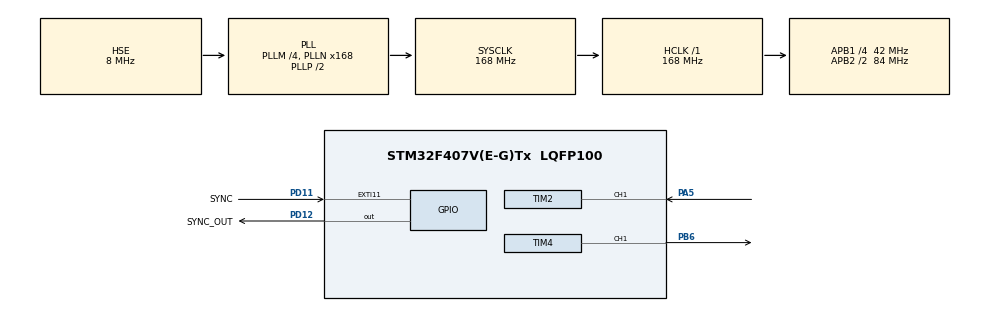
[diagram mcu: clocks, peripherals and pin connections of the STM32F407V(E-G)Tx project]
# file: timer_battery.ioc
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Mcu.Family=STM32F4
Mcu.Name=STM32F407V(E-G)Tx
Mcu.Package=LQFP100
NVIC.EXTI15_10_IRQn=true\:0\:0\:false\:false\:true\:true\:true\:true
NVIC.PriorityGroup=NVIC_PRIORITYGROUP_4
NVIC.TIM2_IRQn=true\:0\:0\:false\:false\:true\:true\:true\:true
NVIC.TIM3_IRQn=true\:0\:0\:false\:false\:true\:true\:true\:true
PA13.Mode=Trace_Asynchronous_SW
PA13.Signal=SYS_JTMS-SWDIO
PA14.Mode=Trace_Asynchronous_SW
PA14.Signal=SYS_JTCK-SWCLK
PA5.Signal=S_TIM2_CH1_ETR
PB3.Mode=Trace_Asynchronous_SW
PB3.Signal=SYS_JTDO-SWO
PB6.Signal=S_TIM4_CH1
PD11.GPIO_Label=SYNC
PD11.GPIO_ModeDefaultEXTI=GPIO_MODE_IT_RISING_FALLING
PD11.Signal=GPXTI11
PD12.GPIO_Label=SYNC_OUT
PD12.Signal=GPIO_Output
PH0-OSC_IN.Mode=HSE-External-Oscillator
PH0-OSC_IN.Signal=RCC_OSC_IN
PH1-OSC_OUT.Mode=HSE-External-Oscillator
PH1-OSC_OUT.Signal=RCC_OSC_OUT
ProjectManager.HeapSize=0x200
ProjectManager.StackSize=0x400
ProjectManager.TargetToolchain=STM32CubeIDE
RCC.48MHZClocksFreq_Value=84000000
RCC.AHBFreq_Value=168000000
RCC.APB1CLKDivider=RCC_HCLK_DIV4
RCC.APB1Freq_Value=42000000
RCC.APB1TimFreq_Value=84000000
RCC.APB2CLKDivider=RCC_HCLK_DIV2
RCC.APB2Freq_Value=84000000
RCC.APB2TimFreq_Value=168000000
RCC.CortexFreq_Value=168000000
RCC.HCLKFreq_Value=168000000
RCC.HSE_VALUE=8000000
RCC.HSI_VALUE=16000000
RCC.LSE_VALUE=32768
RCC.PLLM=4
RCC.PLLN=168
RCC.PLLSourceVirtual=RCC_PLLSOURCE_HSE
RCC.SYSCLKFreq_VALUE=168000000
RCC.SYSCLKSource=RCC_SYSCLKSOURCE_PLLCLK
RCC.VCOOutputFreq_Value=336000000
SH.S_TIM2_CH1_ETR.0=TIM2_CH1,Input_Capture1_from_TI1
SH.S_TIM4_CH1.0=TIM4_CH1,PWM Generation1 CH1
TIM2.Channel-Input_Capture1_from_TI1=TIM_CHANNEL_1
TIM2.Prescaler=83
TIM3.Period=999
TIM3.Prescaler=699
TIM4.Channel-PWM\ Generation1\ CH1=TIM_CHANNEL_1
TIM4.Period=20000-1
TIM4.Prescaler=83
TIM4.Pulse-PWM\ Generation1\ CH1=999
VP_TIM3_VS_ClockSourceINT.Mode=Internal
VP_TIM4_VS_ClockSourceINT.Mode=Internal
board=custom

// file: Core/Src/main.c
/* USER CODE BEGIN Header */
/**
  ******************************************************************************
  * @file           : main.c
  * @brief          : Main program body
  ******************************************************************************
  * @attention
  *
  * Copyright (c) 2025 STMicroelectronics.
  * All rights reserved.
  *
  * This software is licensed under terms that can be found in the LICENSE file
  * in the root directory of this software component.
  * If no LICENSE file comes with this software, it is provided AS-IS.
  *
  ******************************************************************************
  */
/* USER CODE END Header */
#include "main.h"
#include "tim.h"
#include "gpio.h"

void SystemClock_Config(void);

int main(void)
{

  /* MCU Configuration--------------------------------------------------------*/

  /* Reset of all peripherals, Initializes the Flash interface and the Systick. */
  HAL_Init();

  /* Configure the system clock */
  SystemClock_Config();

  /* Initialize all configured peripherals */
  MX_GPIO_Init();
  MX_TIM3_Init();
  MX_TIM2_Init();
  MX_TIM4_Init();
  /* USER CODE BEGIN 2 */
  HAL_TIM_Base_Start_IT(&htim3);

  HAL_TIM_IC_Start_IT(&htim2, TIM_CHANNEL_1);

  HAL_TIM_PWM_Start(&htim4, TIM_CHANNEL_1);

  __HAL_TIM_SET_COMPARE(&htim4, TIM_CHANNEL_1, 1499);

  /* USER CODE END 2 */

  /* Infinite loop */
  while (1)
  {

    /* USER CODE BEGIN 3 */
	  for(uint16_t duty = 1; duty < 20000; duty++){
		  __HAL_TIM_SET_COMPARE(&htim4, TIM_CHANNEL_1, duty);

		  HAL_Delay(1);
	  }
  }
  /* USER CODE END 3 */
}

void SystemClock_Config(void)
{
  RCC_OscInitTypeDef RCC_OscInitStruct = {0};
  RCC_ClkInitTypeDef RCC_ClkInitStruct = {0};

  /** Configure the main internal regulator output voltage
  */
  __HAL_RCC_PWR_CLK_ENABLE();
  __HAL_PWR_VOLTAGESCALING_CONFIG(PWR_REGULATOR_VOLTAGE_SCALE1);

  /** Initializes the RCC Oscillators according to the specified parameters
  * in the RCC_OscInitTypeDef structure.
  */
  RCC_OscInitStruct.OscillatorType = RCC_OSCILLATORTYPE_HSE;
  RCC_OscInitStruct.HSEState = RCC_HSE_ON;
  RCC_OscInitStruct.PLL.PLLState = RCC_PLL_ON;
  RCC_OscInitStruct.PLL.PLLSource = RCC_PLLSOURCE_HSE;
  RCC_OscInitStruct.PLL.PLLM = 4;
  RCC_OscInitStruct.PLL.PLLN = 168;
  RCC_OscInitStruct.PLL.PLLP = RCC_PLLP_DIV2;
  RCC_OscInitStruct.PLL.PLLQ = 4;
  if (HAL_RCC_OscConfig(&RCC_OscInitStruct) != HAL_OK)
  {
    Error_Handler();
  }

  /** Initializes the CPU, AHB and APB buses clocks
  */
  RCC_ClkInitStruct.ClockType = RCC_CLOCKTYPE_HCLK|RCC_CLOCKTYPE_SYSCLK
                              |RCC_CLOCKTYPE_PCLK1|RCC_CLOCKTYPE_PCLK2;
  RCC_ClkInitStruct.SYSCLKSource = RCC_SYSCLKSOURCE_PLLCLK;
  RCC_ClkInitStruct.AHBCLKDivider = RCC_SYSCLK_DIV1;
  RCC_ClkInitStruct.APB1CLKDivider = RCC_HCLK_DIV4;
  RCC_ClkInitStruct.APB2CLKDivider = RCC_HCLK_DIV2;

  if (HAL_RCC_ClockConfig(&RCC_ClkInitStruct, FLASH_LATENCY_5) != HAL_OK)
  {
    Error_Handler();
  }
}

/* USER CODE BEGIN 4 */
void HAL_TIM_PeriodElapsedCallback(TIM_HandleTypeDef *htim)
{
	SYNC_OUT_GPIO_Port->ODR ^= SYNC_OUT_Pin;
}

uint32_t pulse_count = 0;

void HAL_GPIO_EXTI_Callback(uint16_t GPIO_Pin)
{
	pulse_count += 1;
}

float freq = 0;

void HAL_TIM_IC_CaptureCallback(TIM_HandleTypeDef *htim)
{
	static uint32_t capture[2];
	static uint8_t index = 0;
	float diff = 0;
	if(htim->Channel == HAL_TIM_ACTIVE_CHANNEL_1){

		//1. copiar
		capture[index] = __HAL_TIM_GET_COMPARE(&htim2, TIM_CHANNEL_1);

		index += 1;

		if(index >= 2){
			index = 0;

			/*calculamos el periodo o la frecuencia*/

			//calculo de la diferencia
			if(capture[0] < capture[1]){
				diff = capture[1] - capture[0];
			}else{
				diff = __HAL_TIM_GET_AUTORELOAD(&htim2) - capture[0] + capture[1];
			}
			//periodo
			freq = ((float)84E+6) /(diff * 84);
		}

	}
}
/* USER CODE END 4 */

void Error_Handler(void)
{
  __disable_irq();
  while (1)
  {
  }
}
